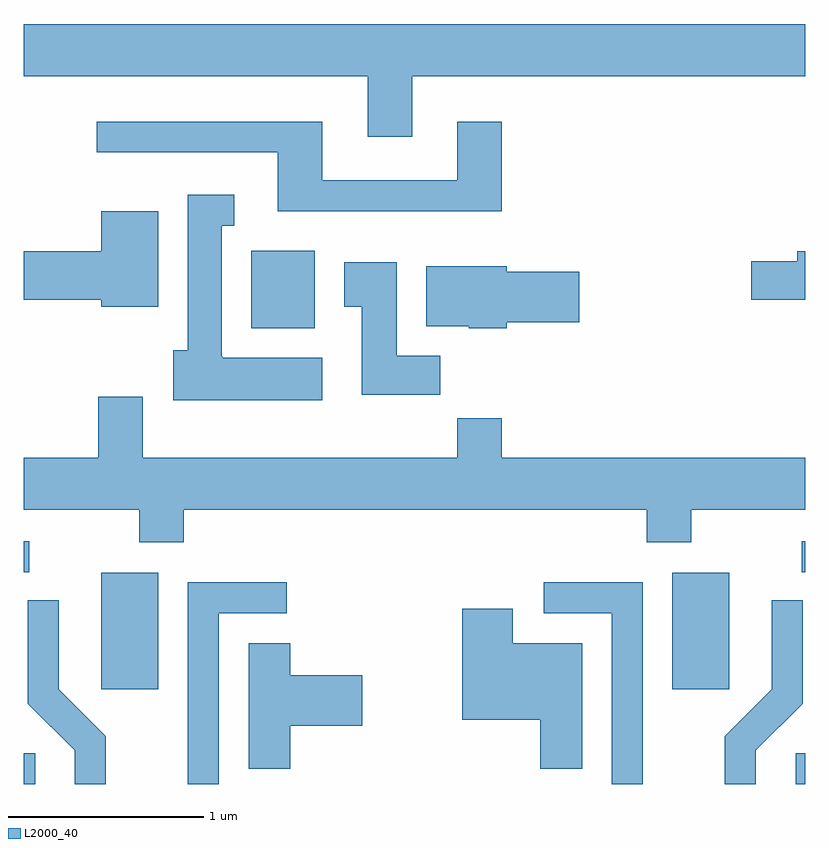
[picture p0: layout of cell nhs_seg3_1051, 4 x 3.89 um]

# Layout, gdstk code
import gdstk
lib = gdstk.Library(unit=1e-6, precision=1e-09)
def R(c, l, rs):  # rectangles x0, y0, x1, y1
    for r in rs: c.add(gdstk.rectangle(r[:2], r[2:], *l))
def P(c, l, *ps):  # polygons
    for p in ps: c.add(gdstk.Polygon(p, *l))
L2000_40 = (2000, 40)

nhs_seg3_1051 = lib.new_cell('nhs_seg3_1051')
R(nhs_seg3_1051, L2000_40, [(215.611,1177.892,215.668,1178.049), (219.563,1177.892,219.611,1178.049), (216.006,1178.376,216.299,1178.974), (218.931,1178.376,219.224,1178.974), (215.611,1178.976,215.638,1179.134), (219.593,1178.976,219.611,1179.134), (216.776,1180.226,217.099,1180.624)])
P(nhs_seg3_1051, L2000_40, [(217.599,1181.516),(219.611,1181.516),(219.611,1181.784),(215.611,1181.784),(215.611,1181.516),(217.371,1181.516),(217.371,1181.206),(217.599,1181.206)],
  [(218.059,1181.284),(217.831,1181.284),(217.831,1180.984),(217.139,1180.984),(217.139,1181.284),(215.983,1181.284),(215.983,1181.126),(216.911,1181.126),(216.911,1180.826),(218.059,1180.826)],
  [(217.139,1180.074),(216.63,1180.074),(216.63,1180.08),(216.624,1180.08),(216.624,1180.751),(216.688,1180.751),(216.688,1180.909),(216.451,1180.909),(216.451,1180.114),(216.376,1180.114),(216.376,1179.856),(217.139,1179.856)],
  [(216.299,1180.824),(216.006,1180.824),(216.006,1180.619),(215.611,1180.619),(215.611,1180.371),(216.006,1180.371),(216.006,1180.336),(216.299,1180.336)],
  [(219.611,1180.619),(219.571,1180.619),(219.571,1180.569),(219.336,1180.569),(219.336,1180.371),(219.611,1180.371)],
  [(217.744,1180.084),(217.519,1180.084),(217.519,1180.564),(217.251,1180.564),(217.251,1180.336),(217.341,1180.336),(217.341,1179.886),(217.744,1179.886)],
  [(218.084,1180.256),(218.454,1180.256),(218.454,1180.514),(218.084,1180.514),(218.084,1180.544),(217.671,1180.544),(217.671,1180.236),(217.89,1180.236),(217.89,1180.226),(218.084,1180.226)],
  [(216.429,1179.296),(218.801,1179.296),(218.801,1179.131),(219.029,1179.131),(219.029,1179.296),(219.611,1179.296),(219.611,1179.564),(218.059,1179.564),(218.059,1179.764),(217.831,1179.764),(217.831,1179.564),(216.219,1179.564),(216.219,1179.874),(215.991,1179.874),(215.991,1179.564),(215.611,1179.564),(215.611,1179.296),(216.201,1179.296),(216.201,1179.131),(216.429,1179.131)],
  [(216.609,1178.766),(216.958,1178.766),(216.958,1178.924),(216.451,1178.924),(216.451,1177.892),(216.609,1177.892)],
  [(218.779,1178.924),(218.273,1178.924),(218.273,1178.766),(218.621,1178.766),(218.621,1177.892),(218.779,1177.892)],
  [(216.029,1178.137),(215.789,1178.377),(215.789,1178.833),(215.631,1178.833),(215.631,1178.304),(215.871,1178.064),(215.871,1177.892),(216.029,1177.892)],
  [(219.359,1178.064),(219.599,1178.304),(219.599,1178.833),(219.441,1178.833),(219.441,1178.377),(219.201,1178.137),(219.201,1177.892),(219.359,1177.892)],
  [(218.469,1178.614),(218.114,1178.614),(218.114,1178.789),(217.856,1178.789),(217.856,1178.221),(218.256,1178.221),(218.256,1177.971),(218.469,1177.971)],
  [(216.974,1178.191),(217.344,1178.191),(217.344,1178.449),(216.974,1178.449),(216.974,1178.614),(216.761,1178.614),(216.761,1177.971),(216.974,1177.971)])

lib.write_gds('nhs_seg3_1051.gds')
